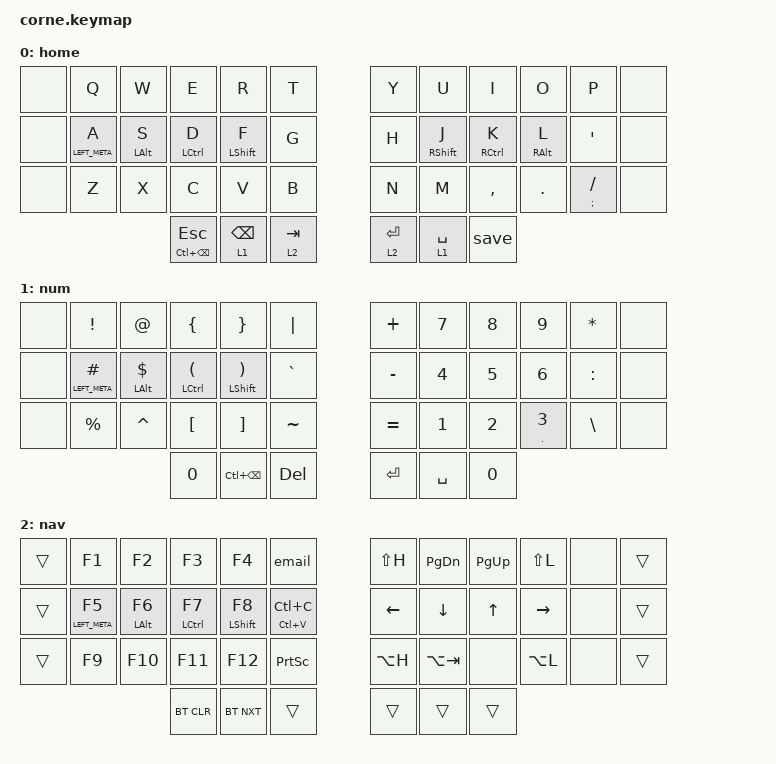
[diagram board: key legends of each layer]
/*
 * Copyright (c) 2020 The ZMK Contributors
 *
 * SPDX-License-Identifier: MIT
 */

#include <behaviors.dtsi>
#include <dt-bindings/zmk/bt.h>
#include <dt-bindings/zmk/keys.h>

/ {
    behaviors {
        hm: homerow_mods {
            compatible = "zmk,behavior-hold-tap";
            label = "HOMEROW_MODS";
            bindings = <&kp>, <&kp>;

            #binding-cells = <2>;
            tapping-term-ms = <200>;
            flavor = "tap-preferred";
            require-prior-idle-ms = <125>;
            quick-tap-ms = <200>;
        };

        shifthr: shifthr {
            compatible = "zmk,behavior-hold-tap";
            label = "SHIFTHR";
            bindings = <&kp>, <&kp>;

            #binding-cells = <2>;
            tapping-term-ms = <185>;
            flavor = "tap-preferred";
            quick-tap-ms = <185>;
        };

        weak: weak {
            compatible = "zmk,behavior-hold-tap";
            label = "WEAK";
            bindings = <&kp>, <&kp>;

            #binding-cells = <2>;
            tapping-term-ms = <230>;
            flavor = "tap-preferred";
            require-prior-idle-ms = <125>;
            quick-tap-ms = <230>;
        };

        backspace: backspace {
            compatible = "zmk,behavior-tap-dance";
            label = "BACKSPACE";
            #binding-cells = <0>;
            bindings = <&kp BACKSPACE>, <&kp LC(BACKSPACE)>;
        };
    };

    combos {
        compatible = "zmk,combos";

        caps {
            bindings = <&kp CAPS>;
            key-positions = <16 19>;
        };

        jk_fix {
            bindings = <&kp ESCAPE>;
            key-positions = <31 32>;
        };

        under {
            bindings = <&kp UNDER>;
            key-positions = <28 31>;
        };

        dash {
            bindings = <&kp MINUS>;
            key-positions = <4 7>;
        };
    };

    macros {
        save: save {
            compatible = "zmk,behavior-macro";
            #binding-cells = <0>;
            bindings = <&macro_tap>, <&kp ESCAPE &kp COLON &kp W &kp ENTER>;

            label = "SAVE";
        };

        email: email {
            compatible = "zmk,behavior-macro";
            #binding-cells = <0>;
            bindings = <&none &kp J &kp O &kp S &kp H &kp AT &kp J &kp O &kp S &kp H &kp B &kp L &kp A &kp I &kp S &kp DOT &kp C &kp O &kp M>;
            label = "EMAIL";
        };
    };

    keymap {
        compatible = "zmk,keymap";

        home {
            // -----------------------------------------------------------------------------------------
            // |  TAB |  Q  |  W  |  E  |  R  |  T  |   |  Y  |  U   |  I  |  O  |  P  | BKSP |
            // | CTRL |  A  |  S  |  D  |  F  |  G  |   |  H  |  J   |  K  |  L  |  ;  |  '   |
            // | SHFT |  Z  |  X  |  C  |  V  |  B  |   |  N  |  M   |  ,  |  .  |  /  | ESC  |
            //                    | GUI | LWR | SPC |   | ENT | RSE  | ALT |

            bindings = <
&none  &kp Q              &kp W             &kp E                     &kp R                  &kp T        &kp Y        &kp U              &kp I             &kp O              &kp P                &none
&none  &weak LEFT_META A  &weak LEFT_ALT S  &shifthr LEFT_CONTROL D   &shifthr LEFT_SHIFT F  &kp G        &kp H        &shifthr RSHIFT J  &shifthr RCTRL K  &weak RIGHT_ALT L  &kp APOS             &none
&none  &kp Z              &kp X             &kp C                     &kp V                  &kp B        &kp N        &kp M              &kp COMMA         &kp DOT            &hm SEMICOLON SLASH  &none
                                            &hm LC(BACKSPACE) ESCAPE  &lt 1 BACKSPACE        &lt 2 TAB    &lt 2 ENTER  &lt 1 SPACE        &save
            >;

            label = "home";
        };

        num {
            // -----------------------------------------------------------------------------------------
            // |    !  |  @  |  #  |  $  |  %  |   |  ^  |  &  |  *  |  (  |  )  | BKSP |
            // |       |     |     |     |     |   |  -  |  =  |  [  |  ]  |  \  |  `   |
            // |       |     |     |     |     |   |  _  |  +  |  {  |  }  | "|" |  ~   |
            //                    | GUI |     | SPC |   | ENT |     | ALT |

            bindings = <
&none  &kp EXCL            &kp AT               &kp LEFT_BRACE              &kp RIGHT_BRACE                   &kp PIPE     &kp PLUS   &kp NUMBER_7  &kp N8        &kp N9                    &kp ASTERISK   &none
&none  &hm LEFT_META HASH  &hm LEFT_ALT DOLLAR  &hm LCTRL LEFT_PARENTHESIS  &hm LEFT_SHIFT RIGHT_PARENTHESIS  &kp GRAVE    &kp MINUS  &kp NUMBER_4  &kp NUMBER_5  &kp NUMBER_6              &kp COLON      &none
&none  &kp PERCENT         &kp CARET            &kp LEFT_BRACKET            &kp RIGHT_BRACKET                 &kp TILDE    &kp EQUAL  &kp NUMBER_1  &kp NUMBER_2  &shifthr PERIOD NUMBER_3  &kp BACKSLASH  &none
                                                &kp N0                      &kp LC(BACKSPACE)                 &kp DEL      &kp RET    &kp SPACE     &kp N0
            >;

            label = "num";
        };

        nav {
            bindings = <
&trans  &kp F1            &kp F2           &kp F3        &kp F4             &email             &kp LS(H)       &kp PAGE_DOWN  &kp PG_UP     &kp LS(L)  &none  &trans
&trans  &hm LEFT_META F5  &hm LEFT_ALT F6  &hm LCTRL F7  &hm LEFT_SHIFT F8  &hm LC(V) LC(C)    &kp LEFT_ARROW  &kp DOWN       &kp UP_ARROW  &kp RIGHT  &none  &trans
&trans  &kp F9            &kp F10          &kp F11       &kp F12            &kp PSCRN          &kp LA(H)       &kp LA(TAB)    &none         &kp LA(L)  &none  &trans
                                           &bt BT_CLR    &bt BT_NXT         &trans             &trans          &trans         &trans
            >;

            label = "nav";
        };
    };
};
